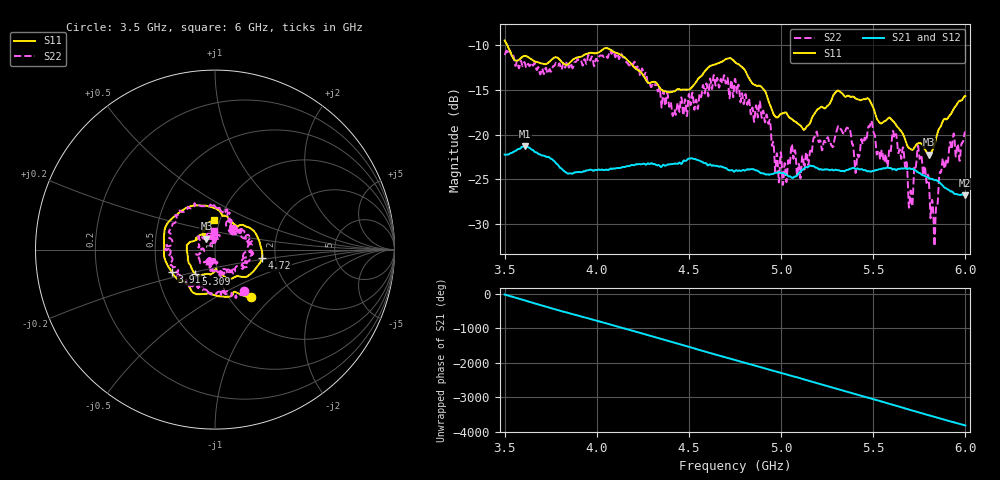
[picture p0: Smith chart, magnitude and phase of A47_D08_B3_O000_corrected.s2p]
! Created with skrf 1.9.0 (http://scikit-rf.org).
# Hz S RI R 50.0
!freq ReS11 ImS11 ReS21 ImS21 ReS12 ImS12 ReS22 ImS22
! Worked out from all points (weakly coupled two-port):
!   1601 points, 3.5 GHz to 6 GHz, reference 50 ohm
!   highest |S21| = -21.31 dB at 3.609 GHz (marker M1); lowest = -26.8 dB at 5.995 GHz (marker M2)
!   lowest |S11| = -22.2 dB at 5.803 GHz (marker M3), VSWR 1.17, Z = 45.1 + j5.5 ohm
!   |S11| at or under -10 dB: 3.514 GHz to end of sweep
!   |S22| runs from -32.4 to -10.6 dB; largest |S21 - S12| = 0.001
!   S11 on the Smith chart (normalised r, x): 3.5 GHz: 1.26, -0.75; 3.913 GHz: 0.60, -0.16; 4.72 GHz: 1.70, -0.18; 5.309 GHz: 0.78, -0.22; 6 GHz: 0.93, +0.31
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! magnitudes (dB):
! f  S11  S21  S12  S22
! 3.5 GHz  -9.5  -22.2  -22.2  -11.0
! 3.609 GHz  -11.2  -21.3  -21.3  -12.0
! 3.913 GHz  -11.3  -24.2  -24.2  -11.6
! 3.917 GHz  -11.3  -24.2  -24.2  -11.9
! 4.334 GHz  -14.5  -23.4  -23.4  -15.1
! 4.42 GHz  -15.2  -23.3  -23.3  -17.2
! 4.72 GHz  -11.5  -24.0  -24.0  -16.0
! 4.75 GHz  -11.9  -24.1  -24.0  -13.8
! 4.93 GHz  -16.1  -24.4  -24.4  -18.7
! 5.019 GHz  -17.6  -24.4  -24.3  -23.2
! 5.167 GHz  -18.2  -23.5  -23.5  -22.0
! 5.309 GHz  -15.1  -24.0  -23.9  -19.1
! 5.409 GHz  -16.0  -23.8  -23.8  -23.3
! 5.584 GHz  -18.1  -23.7  -23.7  -22.1
! 5.617 GHz  -18.7  -23.9  -23.9  -20.3
! 5.703 GHz  -21.6  -23.8  -23.8  -26.2
! 5.75 GHz  -21.0  -24.3  -24.3  -22.5
! 5.803 GHz  -22.2  -24.8  -24.8  -25.6
! 5.838 GHz  -20.7  -25.1  -25.0  -29.5
! 5.87 GHz  -18.9  -25.6  -25.5  -23.9
! 5.995 GHz  -15.7  -26.8  -26.7  -19.8
! 6 GHz  -15.7  -26.7  -26.7  -19.8
